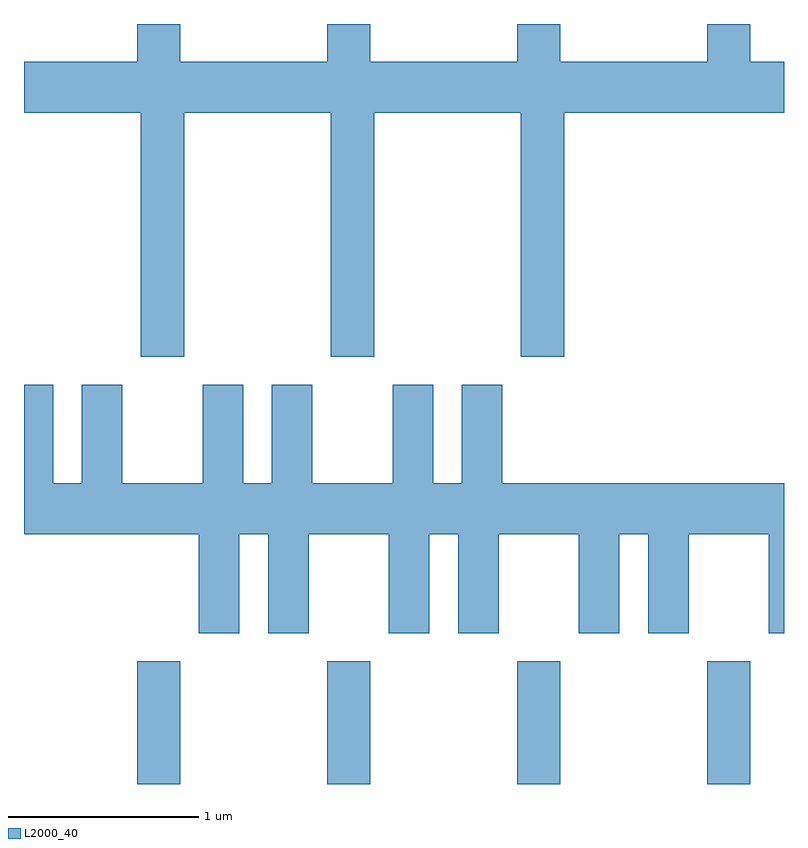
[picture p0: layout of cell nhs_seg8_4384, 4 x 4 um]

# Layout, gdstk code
import gdstk
lib = gdstk.Library(unit=1e-6, precision=1e-09)
def R(c, l, rs):  # rectangles x0, y0, x1, y1
    for r in rs: c.add(gdstk.rectangle(r[:2], r[2:], *l))
def A(c, l, x, y, w, h, nx, ny, dx, dy):  # array of equal rectangles
    R(c, l, [(x+i*dx, y+j*dy, x+i*dx+w, y+j*dy+h) for i in range(nx) for j in range(ny)])
def P(c, l, *ps):  # polygons
    for p in ps: c.add(gdstk.Polygon(p, *l))
L2000_40 = (2000, 40)

nhs_seg8_4384 = lib.new_cell('nhs_seg8_4384')
A(nhs_seg8_4384, L2000_40, 316.206, 1928.342, 0.228, 0.647, 4, 1, 1, 0)
P(nhs_seg8_4384, L2000_40, [(316.454,1931.876),(317.226,1931.876),(317.226,1930.591),(317.454,1930.591),(317.454,1931.876),(318.226,1931.876),(318.226,1930.591),(318.454,1930.591),(318.454,1931.876),(319.611,1931.876),(319.611,1932.144),(319.434,1932.144),(319.434,1932.342),(319.206,1932.342),(319.206,1932.144),(318.434,1932.144),(318.434,1932.342),(318.206,1932.342),(318.206,1932.144),(317.434,1932.144),(317.434,1932.342),(317.206,1932.342),(317.206,1932.144),(316.434,1932.144),(316.434,1932.342),(316.206,1932.342),(316.206,1932.144),(315.611,1932.144),(315.611,1931.876),(316.226,1931.876),(316.226,1930.591),(316.454,1930.591)],
  [(316.744,1929.656),(316.896,1929.656),(316.896,1929.136),(317.109,1929.136),(317.109,1929.656),(317.531,1929.656),(317.531,1929.136),(317.744,1929.136),(317.744,1929.656),(317.896,1929.656),(317.896,1929.136),(318.109,1929.136),(318.109,1929.656),(318.531,1929.656),(318.531,1929.136),(318.744,1929.136),(318.744,1929.656),(318.896,1929.656),(318.896,1929.136),(319.109,1929.136),(319.109,1929.656),(319.531,1929.656),(319.531,1929.136),(319.611,1929.136),(319.611,1929.924),(318.129,1929.924),(318.129,1930.444),(317.916,1930.444),(317.916,1929.924),(317.764,1929.924),(317.764,1930.444),(317.551,1930.444),(317.551,1929.924),(317.129,1929.924),(317.129,1930.444),(316.916,1930.444),(316.916,1929.924),(316.764,1929.924),(316.764,1930.444),(316.551,1930.444),(316.551,1929.924),(316.129,1929.924),(316.129,1930.444),(315.916,1930.444),(315.916,1929.924),(315.764,1929.924),(315.764,1930.444),(315.611,1930.444),(315.611,1929.656),(316.531,1929.656),(316.531,1929.136),(316.744,1929.136)])

lib.write_gds('nhs_seg8_4384.gds')
